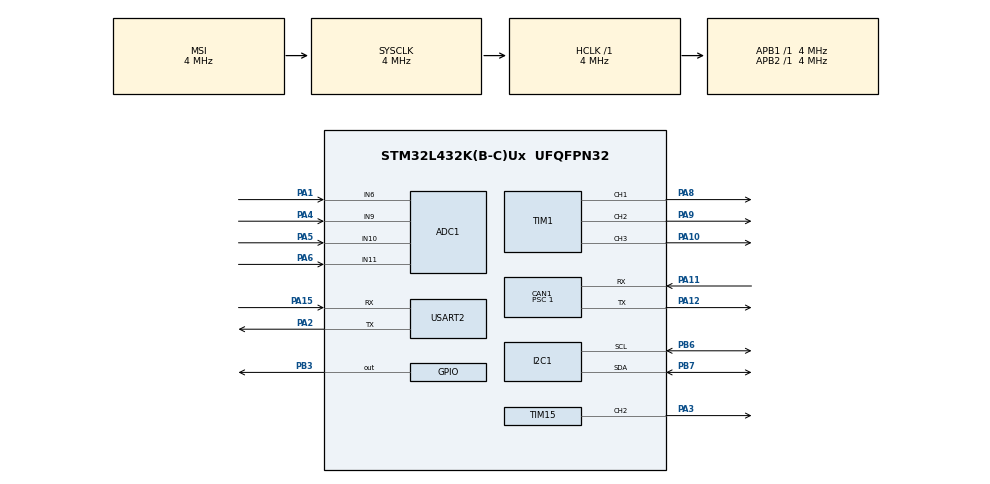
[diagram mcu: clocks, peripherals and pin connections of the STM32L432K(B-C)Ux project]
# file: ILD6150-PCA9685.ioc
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Mcu.Family=STM32L4
VP_SYS_VS_tim6.Mode=TIM6
RCC.CortexFreq_Value=4000000
NVIC.TIM6_DAC_IRQn=true\:0\:0\:false\:false\:true\:false\:false\:true
Dma.USART2_TX.1.MemInc=DMA_MINC_ENABLE
USART2.Parity=PARITY_NONE
PA11.Mode=CAN_Activate
PA15\ (JTDI).Signal=USART2_RX
PC15-OSC32_OUT\ (PC15).Mode=LSE-External-Oscillator
ProjectManager.StackSize=0x400
PB3\ (JTDO-TRACESWO).Signal=GPIO_Output
VP_FREERTOS_VS_CMSIS_V2.Mode=CMSIS_V2
PC14-OSC32_IN\ (PC14).Mode=LSE-External-Oscillator
SH.S_TIM15_CH2.0=TIM15_CH2,PWM Generation2 CH2
PA15\ (JTDI).Mode=Asynchronous
PA12.Signal=CAN1_TX
Dma.USART2_RX.0.Priority=DMA_PRIORITY_LOW
NVIC.CAN1_TX_IRQn=true\:5\:0\:false\:false\:true\:true\:true\:true
Dma.USART2_RX.0.PeriphDataAlignment=DMA_PDATAALIGN_BYTE
RCC.HCLKFreq_Value=4000000
RCC.APB2TimFreq_Value=4000000
PB6.Signal=I2C1_SCL
Dma.USART2_TX.1.Mode=DMA_NORMAL
PB6.Mode=I2C
RCC.AHBFreq_Value=4000000
ADC1.Channel-0\#ChannelRegularConversion=ADC_CHANNEL_6
RCC.HSE_VALUE=16000000
USART2.VirtualMode-Asynchronous=VM_ASYNC
Dma.USART2_RX.0.MemDataAlignment=DMA_MDATAALIGN_BYTE
TIM1.Channel-PWM\ Generation1\ CH1=TIM_CHANNEL_1
TIM15.Channel-PWM\ Generation2\ CH2=TIM_CHANNEL_2
Dma.USART2_TX.1.Instance=DMA1_Channel7
FREERTOS.HEAP_NUMBER=2
PA0.Mode=HSE-External-Clock-Source-for-LittleOrca
Dma.USART2_RX.0.Instance=DMA1_Channel6
PB7.Signal=I2C1_SDA
PA8.Signal=S_TIM1_CH1
ADC1.SamplingTime-0\#ChannelRegularConversion=ADC_SAMPLETIME_2CYCLES_5
FREERTOS.configTOTAL_HEAP_SIZE=30000
PA0.Signal=RCC_CK_IN
CAN1.Prescaler=1
Mcu.Package=UFQFPN32
PA6.Signal=ADCx_IN11
NVIC.TimeBase=TIM6_DAC_IRQn
Dma.USART2_RX.0.PeriphInc=DMA_PINC_DISABLE
NVIC.TimeBaseIP=TIM6
PA10.Signal=S_TIM1_CH3
SH.ADCx_IN9.0=ADC1_IN9,IN9-Single-Ended
USART2.WordLength=WORDLENGTH_8B
Dma.Request1=USART2_TX
RCC.APB1TimFreq_Value=4000000
FREERTOS.configMAX_TASK_NAME_LEN=16
Dma.Request0=USART2_RX
CAN1.CalculateTimeBit=2000.00
USART2.AutoBaudRateEnableParam=UART_ADVFEATURE_AUTOBAUDRATE_DISABLE
RCC.HSI48_VALUE=48000000
PA3.Signal=S_TIM15_CH2
CAN1.CalculateTimeQuantum=250.0
RCC.MSI_VALUE=4000000
NVIC.DMA1_Channel6_IRQn=true\:5\:0\:false\:false\:true\:true\:false\:true
Dma.USART2_TX.1.Priority=DMA_PRIORITY_LOW
FREERTOS.Tasks01=defaultTask,24,128,StartDefaultTask,Default,NULL,Dynamic,NULL,NULL;readTempTask,8,128,StartReadTempTask,Default,NULL,Dynamic,NULL,NULL;readLightTask,8,128,StartReadLightTask,Default,NULL,Dynamic,NULL,NULL
ADC1.Rank-0\#ChannelRegularConversion=1
SH.ADCx_IN6.0=ADC1_IN6,IN6-Single-Ended
ADC1.OffsetNumber-0\#ChannelRegularConversion=ADC_OFFSET_NONE
CAN1.CalculateBaudRate=500000
Dma.USART2_RX.0.Direction=DMA_PERIPH_TO_MEMORY
PC15-OSC32_OUT\ (PC15).Signal=RCC_OSC32_OUT
Dma.USART2_TX.1.PeriphDataAlignment=DMA_PDATAALIGN_BYTE
Dma.USART2_RX.0.Mode=DMA_NORMAL
SH.S_TIM1_CH1.0=TIM1_CH1,PWM Generation1 CH1
CAN1.BS1=CAN_BS1_6TQ
ProjectManager.TargetToolchain=STM32CubeIDE
PA9.Signal=S_TIM1_CH2
TIM1.Channel-PWM\ Generation2\ CH2=TIM_CHANNEL_2
RCC.USBFreq_Value=16000000
PA1.Signal=ADCx_IN6
PA5.Signal=ADCx_IN10
Dma.USART2_TX.1.PeriphInc=DMA_PINC_DISABLE
board=custom
RCC.VCOOutputFreq_Value=160000000
Dma.USART2_TX.1.Direction=DMA_MEMORY_TO_PERIPH
RCC.APB2Freq_Value=4000000
USART2.StopBits=STOPBITS_1
SH.ADCx_IN11.0=ADC1_IN11,IN11-Single-Ended
SH.S_TIM1_CH2.0=TIM1_CH2,PWM Generation2 CH2
RCC.ADCFreq_Value=16000000
Mcu.Name=STM32L432K(B-C)Ux
Dma.USART2_RX.0.MemInc=DMA_MINC_ENABLE
PA2.Signal=USART2_TX
CAN1.SJW=CAN_SJW_1TQ
PA4.Signal=ADCx_IN9
RCC.SYSCLKFreq_VALUE=4000000
ADC1.master=1
PA12.Mode=CAN_Activate
PC14-OSC32_IN\ (PC14).Signal=RCC_OSC32_IN
PB7.Mode=I2C
PA11.Signal=CAN1_RX
SH.ADCx_IN10.0=ADC1_IN10,IN10-Single-Ended
ProjectManager.HeapSize=0x200
SH.S_TIM1_CH3.0=TIM1_CH3,PWM Generation3 CH3
RCC.HSI_VALUE=16000000
NVIC.PriorityGroup=NVIC_PRIORITYGROUP_4
ADC1.NbrOfConversionFlag=1
RCC.PLLN=40
PA2.Mode=Asynchronous
RCC.USART2CLockSelection=RCC_USART2CLKSOURCE_SYSCLK
NVIC.DMA1_Channel7_IRQn=true\:5\:0\:false\:false\:true\:true\:false\:true
Dma.USART2_TX.1.MemDataAlignment=DMA_MDATAALIGN_BYTE
TIM1.Channel-PWM\ Generation3\ CH3=TIM_CHANNEL_3
RCC.APB1Freq_Value=4000000
NVIC.CAN1_RX0_IRQn=true\:5\:0\:false\:false\:true\:true\:true\:true

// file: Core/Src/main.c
/* USER CODE BEGIN Header */
/**
  ******************************************************************************
  * @file           : main.c
  * @brief          : Main program body
  ******************************************************************************
  * @attention
  *
  * <h2><center>&copy; Copyright (c) 2021 STMicroelectronics.
  * All rights reserved.</center></h2>
  *
  * This software component is licensed by ST under BSD 3-Clause license,
  * the "License"; You may not use this file except in compliance with the
  * License. You may obtain a copy of the License at:
  *                        opensource.org/licenses/BSD-3-Clause
  *
  ******************************************************************************
  */
/* USER CODE END Header */
#include "main.h"
#include "cmsis_os.h"

/* USER CODE BEGIN PTD */

//typedef struct
//{
//  volatile uint8_t ID_channel;
//  volatile uint16_t Temp_C[20];
//  volatile uint16_t X[20];
//  volatile uint16_t Y[20];
//  volatile uint16_t Z[20];
//  volatile uint16_t Power[20];
//} LUT_TabTypeDef;

typedef struct  {
    uint16_t temp[100];
    union {
        struct {
            uint8_t id;
            float x[100];
            float y[100];
            float z[100];
            float power[100];
        }channel;
    }item;
}LUT_TabTypeDef;

typedef enum _themotype {
  MCP9600_TYPE_K,
  MCP9600_TYPE_J,
  MCP9600_TYPE_T,
  MCP9600_TYPE_N,
  MCP9600_TYPE_S,
  MCP9600_TYPE_E,
  MCP9600_TYPE_B,
  MCP9600_TYPE_R,
} MCP9600_ThemocoupleType;

typedef enum _resolution {
  MCP9600_ADCRESOLUTION_18,
  MCP9600_ADCRESOLUTION_16,
  MCP9600_ADCRESOLUTION_14,
  MCP9600_ADCRESOLUTION_12,
} MCP9600_ADCResolution;
/* USER CODE END PTD */

ADC_HandleTypeDef hadc1;

CAN_HandleTypeDef hcan1;

I2C_HandleTypeDef hi2c1;

TIM_HandleTypeDef htim1;
TIM_HandleTypeDef htim15;

UART_HandleTypeDef huart2;
DMA_HandleTypeDef hdma_usart2_rx;
DMA_HandleTypeDef hdma_usart2_tx;

/* Definitions for defaultTask */
osThreadId_t defaultTaskHandle;
const osThreadAttr_t defaultTask_attributes = {
  .name = "defaultTask",
  .stack_size = 128 * 4,
  .priority = (osPriority_t) osPriorityNormal,
};
/* Definitions for readTempTask */
osThreadId_t readTempTaskHandle;
const osThreadAttr_t readTempTask_attributes = {
  .name = "readTempTask",
  .stack_size = 128 * 4,
  .priority = (osPriority_t) osPriorityLow,
};
/* Definitions for readLightTask */
osThreadId_t readLightTaskHandle;
const osThreadAttr_t readLightTask_attributes = {
  .name = "readLightTask",
  .stack_size = 128 * 4,
  .priority = (osPriority_t) osPriorityLow,
};
/* USER CODE BEGIN PV */
osThreadId_t comUsartTaskHandle;
const osThreadAttr_t comUsartTask_attributes = {
  .name = "comUsartTask",
  .priority = (osPriority_t) osPriorityNormal,
  .stack_size = 128 * 254
};

uint16_t sharedvar=16;
uint16_t sharedchannel=0x9395;
uint16_t shareddelay = 5;

CAN_FilterTypeDef sFilterConfig;
CAN_TxHeaderTypeDef TxHeader;
CAN_RxHeaderTypeDef RxHeader;
uint8_t TxData[8]={1,2,3,4,5,6,7,8};
uint8_t RxData[8];
uint32_t TxMailbox;
char msg[50];

/* USER CODE END PV */

void SystemClock_Config(void);
static void MX_GPIO_Init(void);
static void MX_DMA_Init(void);
static void MX_I2C1_Init(void);
static void MX_USART2_UART_Init(void);
static void MX_CAN1_Init(void);
static void MX_TIM1_Init(void);
static void MX_ADC1_Init(void);
static void MX_TIM15_Init(void);
void StartDefaultTask(void *argument);
void StartReadTempTask(void *argument);
void StartReadLightTask(void *argument);

/* USER CODE BEGIN PFP */
void ComUsartTask(void *argument);

uint8_t PCA9685_read(I2C_HandleTypeDef *hi2c, uint8_t address, unsigned char reg);
void pca9685_init(I2C_HandleTypeDef *hi2c, uint8_t address);
void pca9685_pwm(I2C_HandleTypeDef *hi2c, uint8_t address, uint8_t num, uint16_t on, uint16_t off);
void pca9685_mult_pwm(I2C_HandleTypeDef *hi2c, uint8_t address, uint16_t num, uint16_t on, uint16_t off);
HAL_StatusTypeDef pca9685_all_pwm(I2C_HandleTypeDef *hi2c, uint8_t address, uint16_t on, uint16_t off);
void all_led_off(I2C_HandleTypeDef *hi2c, uint8_t address);

void scenario1();
void scenario2();
void scenario3();
void scenario4();
void scenario5();
void Receive_CAN_Message_Polling(CAN_RxHeaderTypeDef RxMessage_, uint8_t *RxData_);
/* USER CODE END PFP */

int main(void)
{

  /* MCU Configuration--------------------------------------------------------*/

  /* Reset of all peripherals, Initializes the Flash interface and the Systick. */
  HAL_Init();

  /* Configure the system clock */
  SystemClock_Config();

  /* Initialize all configured peripherals */
  MX_GPIO_Init();
  MX_DMA_Init();
  MX_I2C1_Init();
  MX_USART2_UART_Init();
  MX_CAN1_Init();
  MX_TIM1_Init();
  MX_ADC1_Init();
  MX_TIM15_Init();
  /* USER CODE BEGIN 2 */

  sFilterConfig.FilterBank = 0;
  sFilterConfig.FilterMode = CAN_FILTERMODE_IDMASK;
  sFilterConfig.FilterScale = CAN_FILTERSCALE_32BIT;
  sFilterConfig.FilterIdHigh = 0x245<<5;
  sFilterConfig.FilterIdLow = 0x0000;
  sFilterConfig.FilterMaskIdHigh = 0x0000;
  sFilterConfig.FilterMaskIdLow = 0x0000;
  sFilterConfig.FilterFIFOAssignment = CAN_RX_FIFO0;
  sFilterConfig.FilterActivation = ENABLE;
  sFilterConfig.SlaveStartFilterBank = 14;

  if (HAL_CAN_ConfigFilter(&hcan1, &sFilterConfig) != HAL_OK)
  {
	  Error_Handler();
  }

  if (HAL_CAN_Start(&hcan1) != HAL_OK)
  {
	  /* Start Error */
	  Error_Handler();
  }

  if (HAL_CAN_ActivateNotification(&hcan1, CAN_IT_RX_FIFO0_OVERRUN) != HAL_OK)
  {

	  Error_Handler();
  }
  if (HAL_CAN_ActivateNotification(&hcan1, CAN_IT_TX_MAILBOX_EMPTY) != HAL_OK)
  {
	  /* Notification Error */
	  Error_Handler();
  }
  TxHeader.StdId = 0x07; //07
  //TxHeader.ExtId = 0x01; //delete
  TxHeader.RTR = CAN_RTR_DATA;
  TxHeader.IDE = CAN_ID_STD;
  TxHeader.DLC = 8;
  TxHeader.TransmitGlobalTime = DISABLE;

  /* USER CODE END 2 */

  /* Init scheduler */
  osKernelInitialize();

  /* Create the thread(s) */
  /* creation of defaultTask */
  defaultTaskHandle = osThreadNew(StartDefaultTask, NULL, &defaultTask_attributes);

  /* creation of readTempTask */
  readTempTaskHandle = osThreadNew(StartReadTempTask, NULL, &readTempTask_attributes);

  /* creation of readLightTask */
  readLightTaskHandle = osThreadNew(StartReadLightTask, NULL, &readLightTask_attributes);

  /* USER CODE BEGIN RTOS_THREADS */
  /* add threads, ... */
  comUsartTaskHandle = osThreadNew(ComUsartTask, NULL, &comUsartTask_attributes);
  /* USER CODE END RTOS_THREADS */

  /* Start scheduler */
  osKernelStart();

  /* We should never get here as control is now taken by the scheduler */
  /* Infinite loop */
  while (1)
  {

  }
}

void SystemClock_Config(void)
{
  RCC_OscInitTypeDef RCC_OscInitStruct = {0};
  RCC_ClkInitTypeDef RCC_ClkInitStruct = {0};
  RCC_PeriphCLKInitTypeDef PeriphClkInit = {0};

  /** Configure LSE Drive Capability
  */
  HAL_PWR_EnableBkUpAccess();
  __HAL_RCC_LSEDRIVE_CONFIG(RCC_LSEDRIVE_LOW);
  /** Initializes the RCC Oscillators according to the specified parameters
  * in the RCC_OscInitTypeDef structure.
  */
  RCC_OscInitStruct.OscillatorType = RCC_OSCILLATORTYPE_LSE|RCC_OSCILLATORTYPE_MSI;
  RCC_OscInitStruct.LSEState = RCC_LSE_ON;
  RCC_OscInitStruct.MSIState = RCC_MSI_ON;
  RCC_OscInitStruct.MSICalibrationValue = 0;
  RCC_OscInitStruct.MSIClockRange = RCC_MSIRANGE_6;
  RCC_OscInitStruct.PLL.PLLState = RCC_PLL_NONE;
  if (HAL_RCC_OscConfig(&RCC_OscInitStruct) != HAL_OK)
  {
    Error_Handler();
  }
  /** Initializes the CPU, AHB and APB buses clocks
  */
  RCC_ClkInitStruct.ClockType = RCC_CLOCKTYPE_HCLK|RCC_CLOCKTYPE_SYSCLK
                              |RCC_CLOCKTYPE_PCLK1|RCC_CLOCKTYPE_PCLK2;
  RCC_ClkInitStruct.SYSCLKSource = RCC_SYSCLKSOURCE_MSI;
  RCC_ClkInitStruct.AHBCLKDivider = RCC_SYSCLK_DIV1;
  RCC_ClkInitStruct.APB1CLKDivider = RCC_HCLK_DIV1;
  RCC_ClkInitStruct.APB2CLKDivider = RCC_HCLK_DIV1;

  if (HAL_RCC_ClockConfig(&RCC_ClkInitStruct, FLASH_LATENCY_0) != HAL_OK)
  {
    Error_Handler();
  }
  PeriphClkInit.PeriphClockSelection = RCC_PERIPHCLK_USART2|RCC_PERIPHCLK_I2C1
                              |RCC_PERIPHCLK_ADC;
  PeriphClkInit.Usart2ClockSelection = RCC_USART2CLKSOURCE_SYSCLK;
  PeriphClkInit.I2c1ClockSelection = RCC_I2C1CLKSOURCE_PCLK1;
  PeriphClkInit.AdcClockSelection = RCC_ADCCLKSOURCE_PLLSAI1;
  PeriphClkInit.PLLSAI1.PLLSAI1Source = RCC_PLLSOURCE_MSI;
  PeriphClkInit.PLLSAI1.PLLSAI1M = 1;
  PeriphClkInit.PLLSAI1.PLLSAI1N = 8;
  PeriphClkInit.PLLSAI1.PLLSAI1P = RCC_PLLP_DIV7;
  PeriphClkInit.PLLSAI1.PLLSAI1Q = RCC_PLLQ_DIV2;
  PeriphClkInit.PLLSAI1.PLLSAI1R = RCC_PLLR_DIV2;
  PeriphClkInit.PLLSAI1.PLLSAI1ClockOut = RCC_PLLSAI1_ADC1CLK;
  if (HAL_RCCEx_PeriphCLKConfig(&PeriphClkInit) != HAL_OK)
  {
    Error_Handler();
  }
  /** Configure the main internal regulator output voltage
  */
  if (HAL_PWREx_ControlVoltageScaling(PWR_REGULATOR_VOLTAGE_SCALE1) != HAL_OK)
  {
    Error_Handler();
  }
  /** Enable MSI Auto calibration
  */
  HAL_RCCEx_EnableMSIPLLMode();
}

static void MX_ADC1_Init(void)
{

  ADC_ChannelConfTypeDef sConfig = {0};

  /** Common config
  */
  hadc1.Instance = ADC1;
  hadc1.Init.ClockPrescaler = ADC_CLOCK_ASYNC_DIV1;
  hadc1.Init.Resolution = ADC_RESOLUTION_12B;
  hadc1.Init.DataAlign = ADC_DATAALIGN_RIGHT;
  hadc1.Init.ScanConvMode = ADC_SCAN_DISABLE;
  hadc1.Init.EOCSelection = ADC_EOC_SINGLE_CONV;
  hadc1.Init.LowPowerAutoWait = DISABLE;
  hadc1.Init.ContinuousConvMode = DISABLE;
  hadc1.Init.NbrOfConversion = 1;
  hadc1.Init.DiscontinuousConvMode = DISABLE;
  hadc1.Init.ExternalTrigConv = ADC_SOFTWARE_START;
  hadc1.Init.ExternalTrigConvEdge = ADC_EXTERNALTRIGCONVEDGE_NONE;
  hadc1.Init.DMAContinuousRequests = DISABLE;
  hadc1.Init.Overrun = ADC_OVR_DATA_PRESERVED;
  hadc1.Init.OversamplingMode = DISABLE;
  if (HAL_ADC_Init(&hadc1) != HAL_OK)
  {
    Error_Handler();
  }
  /** Configure Regular Channel
  */
  sConfig.Channel = ADC_CHANNEL_6;
  sConfig.Rank = ADC_REGULAR_RANK_1;
  sConfig.SamplingTime = ADC_SAMPLETIME_2CYCLES_5;
  sConfig.SingleDiff = ADC_SINGLE_ENDED;
  sConfig.OffsetNumber = ADC_OFFSET_NONE;
  sConfig.Offset = 0;
  if (HAL_ADC_ConfigChannel(&hadc1, &sConfig) != HAL_OK)
  {
    Error_Handler();
  }

}

static void MX_CAN1_Init(void)
{

  hcan1.Instance = CAN1;
  hcan1.Init.Prescaler = 1;
  hcan1.Init.Mode = CAN_MODE_NORMAL;
  hcan1.Init.SyncJumpWidth = CAN_SJW_1TQ;
  hcan1.Init.TimeSeg1 = CAN_BS1_6TQ;
  hcan1.Init.TimeSeg2 = CAN_BS2_1TQ;
  hcan1.Init.TimeTriggeredMode = DISABLE;
  hcan1.Init.AutoBusOff = DISABLE;
  hcan1.Init.AutoWakeUp = DISABLE;
  hcan1.Init.AutoRetransmission = DISABLE;
  hcan1.Init.ReceiveFifoLocked = DISABLE;
  hcan1.Init.TransmitFifoPriority = DISABLE;
  if (HAL_CAN_Init(&hcan1) != HAL_OK)
  {
    Error_Handler();
  }

}

static void MX_I2C1_Init(void)
{

  hi2c1.Instance = I2C1;
  hi2c1.Init.Timing = 0x00000E14;
  hi2c1.Init.OwnAddress1 = 0;
  hi2c1.Init.AddressingMode = I2C_ADDRESSINGMODE_7BIT;
  hi2c1.Init.DualAddressMode = I2C_DUALADDRESS_DISABLE;
  hi2c1.Init.OwnAddress2 = 0;
  hi2c1.Init.OwnAddress2Masks = I2C_OA2_NOMASK;
  hi2c1.Init.GeneralCallMode = I2C_GENERALCALL_DISABLE;
  hi2c1.Init.NoStretchMode = I2C_NOSTRETCH_DISABLE;
  if (HAL_I2C_Init(&hi2c1) != HAL_OK)
  {
    Error_Handler();
  }
  /** Configure Analogue filter
  */
  if (HAL_I2CEx_ConfigAnalogFilter(&hi2c1, I2C_ANALOGFILTER_ENABLE) != HAL_OK)
  {
    Error_Handler();
  }
  /** Configure Digital filter
  */
  if (HAL_I2CEx_ConfigDigitalFilter(&hi2c1, 0) != HAL_OK)
  {
    Error_Handler();
  }

}

static void MX_TIM1_Init(void)
{

  TIM_MasterConfigTypeDef sMasterConfig = {0};
  TIM_OC_InitTypeDef sConfigOC = {0};
  TIM_BreakDeadTimeConfigTypeDef sBreakDeadTimeConfig = {0};

  htim1.Instance = TIM1;
  htim1.Init.Prescaler = 0;
  htim1.Init.CounterMode = TIM_COUNTERMODE_UP;
  htim1.Init.Period = 65535;
  htim1.Init.ClockDivision = TIM_CLOCKDIVISION_DIV1;
  htim1.Init.RepetitionCounter = 0;
  htim1.Init.AutoReloadPreload = TIM_AUTORELOAD_PRELOAD_DISABLE;
  if (HAL_TIM_PWM_Init(&htim1) != HAL_OK)
  {
    Error_Handler();
  }
  sMasterConfig.MasterOutputTrigger = TIM_TRGO_RESET;
  sMasterConfig.MasterOutputTrigger2 = TIM_TRGO2_RESET;
  sMasterConfig.MasterSlaveMode = TIM_MASTERSLAVEMODE_DISABLE;
  if (HAL_TIMEx_MasterConfigSynchronization(&htim1, &sMasterConfig) != HAL_OK)
  {
    Error_Handler();
  }
  sConfigOC.OCMode = TIM_OCMODE_PWM1;
  sConfigOC.Pulse = 0;
  sConfigOC.OCPolarity = TIM_OCPOLARITY_HIGH;
  sConfigOC.OCNPolarity = TIM_OCNPOLARITY_HIGH;
  sConfigOC.OCFastMode = TIM_OCFAST_DISABLE;
  sConfigOC.OCIdleState = TIM_OCIDLESTATE_RESET;
  sConfigOC.OCNIdleState = TIM_OCNIDLESTATE_RESET;
  if (HAL_TIM_PWM_ConfigChannel(&htim1, &sConfigOC, TIM_CHANNEL_1) != HAL_OK)
  {
    Error_Handler();
  }
  if (HAL_TIM_PWM_ConfigChannel(&htim1, &sConfigOC, TIM_CHANNEL_2) != HAL_OK)
  {
    Error_Handler();
  }
  if (HAL_TIM_PWM_ConfigChannel(&htim1, &sConfigOC, TIM_CHANNEL_3) != HAL_OK)
  {
    Error_Handler();
  }
  sBreakDeadTimeConfig.OffStateRunMode = TIM_OSSR_DISABLE;
  sBreakDeadTimeConfig.OffStateIDLEMode = TIM_OSSI_DISABLE;
  sBreakDeadTimeConfig.LockLevel = TIM_LOCKLEVEL_OFF;
  sBreakDeadTimeConfig.DeadTime = 0;
  sBreakDeadTimeConfig.BreakState = TIM_BREAK_DISABLE;
  sBreakDeadTimeConfig.BreakPolarity = TIM_BREAKPOLARITY_HIGH;
  sBreakDeadTimeConfig.BreakFilter = 0;
  sBreakDeadTimeConfig.Break2State = TIM_BREAK2_DISABLE;
  sBreakDeadTimeConfig.Break2Polarity = TIM_BREAK2POLARITY_HIGH;
  sBreakDeadTimeConfig.Break2Filter = 0;
  sBreakDeadTimeConfig.AutomaticOutput = TIM_AUTOMATICOUTPUT_DISABLE;
  if (HAL_TIMEx_ConfigBreakDeadTime(&htim1, &sBreakDeadTimeConfig) != HAL_OK)
  {
    Error_Handler();
  }
  HAL_TIM_MspPostInit(&htim1);

}

static void MX_TIM15_Init(void)
{

  TIM_MasterConfigTypeDef sMasterConfig = {0};
  TIM_OC_InitTypeDef sConfigOC = {0};
  TIM_BreakDeadTimeConfigTypeDef sBreakDeadTimeConfig = {0};

  htim15.Instance = TIM15;
  htim15.Init.Prescaler = 0;
  htim15.Init.CounterMode = TIM_COUNTERMODE_UP;
  htim15.Init.Period = 65535;
  htim15.Init.ClockDivision = TIM_CLOCKDIVISION_DIV1;
  htim15.Init.RepetitionCounter = 0;
  htim15.Init.AutoReloadPreload = TIM_AUTORELOAD_PRELOAD_DISABLE;
  if (HAL_TIM_PWM_Init(&htim15) != HAL_OK)
  {
    Error_Handler();
  }
  sMasterConfig.MasterOutputTrigger = TIM_TRGO_RESET;
  sMasterConfig.MasterSlaveMode = TIM_MASTERSLAVEMODE_DISABLE;
  if (HAL_TIMEx_MasterConfigSynchronization(&htim15, &sMasterConfig) != HAL_OK)
  {
    Error_Handler();
  }
  sConfigOC.OCMode = TIM_OCMODE_PWM1;
  sConfigOC.Pulse = 0;
  sConfigOC.OCPolarity = TIM_OCPOLARITY_HIGH;
  sConfigOC.OCNPolarity = TIM_OCNPOLARITY_HIGH;
  sConfigOC.OCFastMode = TIM_OCFAST_DISABLE;
  sConfigOC.OCIdleState = TIM_OCIDLESTATE_RESET;
  sConfigOC.OCNIdleState = TIM_OCNIDLESTATE_RESET;
  if (HAL_TIM_PWM_ConfigChannel(&htim15, &sConfigOC, TIM_CHANNEL_2) != HAL_OK)
  {
    Error_Handler();
  }
  sBreakDeadTimeConfig.OffStateRunMode = TIM_OSSR_DISABLE;
  sBreakDeadTimeConfig.OffStateIDLEMode = TIM_OSSI_DISABLE;
  sBreakDeadTimeConfig.LockLevel = TIM_LOCKLEVEL_OFF;
  sBreakDeadTimeConfig.DeadTime = 0;
  sBreakDeadTimeConfig.BreakState = TIM_BREAK_DISABLE;
  sBreakDeadTimeConfig.BreakPolarity = TIM_BREAKPOLARITY_HIGH;
  sBreakDeadTimeConfig.AutomaticOutput = TIM_AUTOMATICOUTPUT_DISABLE;
  if (HAL_TIMEx_ConfigBreakDeadTime(&htim15, &sBreakDeadTimeConfig) != HAL_OK)
  {
    Error_Handler();
  }
  HAL_TIM_MspPostInit(&htim15);

}

static void MX_USART2_UART_Init(void)
{

  huart2.Instance = USART2;
  huart2.Init.BaudRate = 115200;
  huart2.Init.WordLength = UART_WORDLENGTH_8B;
  huart2.Init.StopBits = UART_STOPBITS_1;
  huart2.Init.Parity = UART_PARITY_NONE;
  huart2.Init.Mode = UART_MODE_TX_RX;
  huart2.Init.HwFlowCtl = UART_HWCONTROL_NONE;
  huart2.Init.OverSampling = UART_OVERSAMPLING_16;
  huart2.Init.OneBitSampling = UART_ONE_BIT_SAMPLE_DISABLE;
  huart2.AdvancedInit.AdvFeatureInit = UART_ADVFEATURE_NO_INIT;
  if (HAL_UART_Init(&huart2) != HAL_OK)
  {
    Error_Handler();
  }

}

static void MX_DMA_Init(void)
{

  /* DMA controller clock enable */
  __HAL_RCC_DMA1_CLK_ENABLE();

  /* DMA interrupt init */
  /* DMA1_Channel6_IRQn interrupt configuration */
  HAL_NVIC_SetPriority(DMA1_Channel6_IRQn, 5, 0);
  HAL_NVIC_EnableIRQ(DMA1_Channel6_IRQn);
  /* DMA1_Channel7_IRQn interrupt configuration */
  HAL_NVIC_SetPriority(DMA1_Channel7_IRQn, 5, 0);
  HAL_NVIC_EnableIRQ(DMA1_Channel7_IRQn);

}

static void MX_GPIO_Init(void)
{
  GPIO_InitTypeDef GPIO_InitStruct = {0};

  /* GPIO Ports Clock Enable */
  __HAL_RCC_GPIOC_CLK_ENABLE();
  __HAL_RCC_GPIOA_CLK_ENABLE();
  __HAL_RCC_GPIOB_CLK_ENABLE();

  /*Configure GPIO pin Output Level */
  HAL_GPIO_WritePin(GPIOB, GPIO_PIN_3, GPIO_PIN_RESET);

  /*Configure GPIO pin : PB3 */
  GPIO_InitStruct.Pin = GPIO_PIN_3;
  GPIO_InitStruct.Mode = GPIO_MODE_OUTPUT_PP;
  GPIO_InitStruct.Pull = GPIO_NOPULL;
  GPIO_InitStruct.Speed = GPIO_SPEED_FREQ_LOW;
  HAL_GPIO_Init(GPIOB, &GPIO_InitStruct);

}

/* USER CODE BEGIN 4 */
// Returns position of the only set bit in 'n'

uint8_t PCA9685_read(I2C_HandleTypeDef *hi2c, uint8_t address, unsigned char reg)
{
	uint8_t res={0};
	HAL_I2C_Master_Transmit(hi2c, address, 0x00, 1, 1);
	//HAL_I2C_Master_Receive(hi2c,address,res,1,1);
	return res;
}

void pca9685_init(I2C_HandleTypeDef *hi2c, uint8_t address)
{
 #define PCA9685_MODE1 0x00
 uint8_t initStruct[2];
 uint8_t prescale = 0x03; // hardcoded
 HAL_I2C_Master_Transmit(hi2c, address, PCA9685_MODE1, 1, 1);
 uint8_t oldmode = 0x00; // hardcoded
 //uint8_t oldmode = PCA9685_read(hi2c,address,PCA9685_MODE1);
 // HAL_I2C_Master_Receive(hi2c, address, &oldmode, 1, 1);
 uint8_t newmode = ((oldmode & 0x7F) | 0x10);
 initStruct[0] = PCA9685_MODE1;
 initStruct[1] = newmode;
 HAL_I2C_Master_Transmit(hi2c, address, initStruct, 2, 1);
 //initStruct[0] = 0xFE;
 initStruct[1] = prescale;
 HAL_I2C_Master_Transmit(hi2c, address, initStruct, 2, 1);
 //initStruct[0] = PCA9685_MODE1;
 initStruct[1] = oldmode;
 HAL_I2C_Master_Transmit(hi2c, address, initStruct, 2, 1);
 osDelay(5);
 initStruct[1] = (oldmode | 0xA1);
 HAL_I2C_Master_Transmit(hi2c, address, initStruct, 2, 1);
}

void pca9685_pwm(I2C_HandleTypeDef *hi2c, uint8_t address, uint8_t num, uint16_t on, uint16_t off)
{
	uint8_t outputBuffer[] = {0x06 + 4*num, on, (on >> 8), off, (off >> 8)};
	HAL_I2C_Master_Transmit(hi2c, address, outputBuffer, sizeof(outputBuffer), 1);
}

void pca9685_mult_pwm(I2C_HandleTypeDef *hi2c, uint8_t address, uint16_t num, uint16_t on, uint16_t off)
{
	int i, iter;

	for (i=1, iter=1; i<65535; i<<=1, iter++)
	{
		if (num & i)
		{
			uint8_t outputBuffer[] = {0x06 + 4*((iter)-1), on, (on >> 8), off, (off >> 8)};
			HAL_I2C_Master_Transmit(hi2c, address, outputBuffer, sizeof(outputBuffer), 1);
		}
		else
		{
			uint8_t outputBuffer[] = {0x06 + 4*((iter)-1), 0, (0 >> 8), 4096, (4096 >> 8)};
			HAL_I2C_Master_Transmit(hi2c, address, outputBuffer, sizeof(outputBuffer), 1);
		}
	}

	/*
	uint8_t channel = 0;
	if(num & 0b00000001)
	{
		uint8_t outputBuffer[] = {0x06 + 4*((num & 0b00000001)-1), on, (on >> 8), off, (off >> 8)};
		HAL_I2C_Master_Transmit(hi2c, address, outputBuffer, sizeof(outputBuffer), 1);
	}
	if(num & 0b00000010)
	{
		uint8_t outputBuffer[] = {0x06 + 4*((num & 0b00000010)-1), on, (on >> 8), off, (off >> 8)};
		HAL_I2C_Master_Transmit(hi2c, address, outputBuffer, sizeof(outputBuffer), 1);
	}
	*/
}

void all_led_off(I2C_HandleTypeDef *hi2c, uint8_t address){

	 uint8_t ALL_LED_OFF = 0xFC;
	 uint8_t outputBuffer[] = {ALL_LED_OFF, 0, (0 >> 8), 4096, (4096 >> 8)};
	 HAL_I2C_Master_Transmit(hi2c, address, outputBuffer, sizeof(outputBuffer), 1);
}

HAL_StatusTypeDef pca9685_all_pwm(I2C_HandleTypeDef *hi2c, uint8_t address, uint16_t on, uint16_t off)
{
	uint8_t ALL_LED_ON = 0xFA;
	uint8_t outputBuffer[] = {ALL_LED_ON, on, (on >> 8), off, (off >> 8)};
	HAL_StatusTypeDef status = HAL_I2C_Master_Transmit(hi2c, address, outputBuffer, sizeof(outputBuffer), 1);
	return status;
}

void scenario1(){
	 uint8_t I2C_address = 0x80;
	 pca9685_init(&hi2c1, I2C_address);
	 //turn off all LED
	 all_led_off(&hi2c1, I2C_address);

	 /* Infinite loop */
	 for(;;)
	 {
		 for(int i=0; i<4096/sharedvar; i++){
			pca9685_all_pwm(&hi2c1, I2C_address, 0, 4095-(sharedvar*i));
			osDelay(5);
		 }

	 	 for(int i=0; i<4096/sharedvar; i++){
	 		 pca9685_all_pwm(&hi2c1, I2C_address, 0, (sharedvar*i));
	 		 osDelay(5);
	 	 }
	 }
}

void scenario2(){
	 uint8_t I2C_address = 0x80;
	 pca9685_init(&hi2c1, I2C_address);
	 //turn off all LED
	 //all_led_off(&hi2c1, I2C_address);

	 //uint16_t channel = 0b1001001110010101;
	 //uint16_t channel = sharedchannel;

	 /* Infinite loop */
	 for(;;)
	 {
		 for(int i=0; i<4096/sharedvar; i++){
			pca9685_mult_pwm(&hi2c1, I2C_address, sharedchannel, 0, 4095-(sharedvar*i));
			//pca9685_pwm(&hi2c1, I2C_address, 15, 0, 4095-(sharedvar*i));
			osDelay(shareddelay);
		 }

	 	 for(int i=0; i<4096/sharedvar; i++){
	 		pca9685_mult_pwm(&hi2c1, I2C_address, sharedchannel, 0, (sharedvar*i));
	 		//pca9685_pwm(&hi2c1, I2C_address, 15 ,0, 4095-(sharedvar*i));
	 		osDelay(shareddelay);
	 	 }
	 }
}

void scenario3(){
	//uint8_t I2C_address = 0x80;
	//pca9685_init(&hi2c1, I2C_address);

	int n = 10;
	int m = 1;
    uint16_t temp[n*m];
    uint8_t id[n];
    float x[n*m];
    float y[n*m];
    float z[n*m];
    float power[n*m];

	uint8_t size = 1;
	//LUT_TabTypeDef pLUTChannel[size];

	for(;;){
		HAL_GPIO_TogglePin(GPIOB, GPIO_PIN_3);
		osDelay(100);
	}
}

void scenario4(){

	sprintf(msg,"Init\r\n");
	HAL_UART_Transmit(&huart2,(uint8_t*)msg,strlen(msg),HAL_MAX_DELAY);

	//for(;;){
		if(HAL_CAN_AddTxMessage(&hcan1,&TxHeader,TxData,&TxMailbox)!= HAL_OK){
			sprintf(msg,"HAL NOK\r\n");
			HAL_UART_Transmit(&huart2,(uint8_t*)msg,strlen(msg),HAL_MAX_DELAY);
		}

		while(HAL_CAN_IsTxMessagePending(&hcan1,TxMailbox));
		TxData[0]+=1;

		sprintf(msg,"Transmitted\r\n");
		HAL_UART_Transmit(&huart2,(uint8_t*)msg,strlen(msg),HAL_MAX_DELAY);
		osDelay(1000);
	//}

}

void scenario5(){
	char msg[50];
	HAL_StatusTypeDef status = HAL_CAN_ActivateNotification(&hcan1, CAN_IT_RX_FIFO0_OVERRUN);
	for(;;){
		uint8_t messages = HAL_CAN_GetRxFifoFillLevel(&hcan1, CAN_RX_FIFO0);

		if(messages > 0){
			if(HAL_CAN_GetRxMessage(&hcan1, CAN_RX_FIFO0, &RxHeader, RxData) == HAL_OK){

				sprintf(msg,"Received\r\n");
				HAL_UART_Transmit(&huart2,(uint8_t*)msg,strlen(msg),HAL_MAX_DELAY);

			}
			scenario4();
		}

	}
	/*
}
	char msg[] = {'A','B','C'};
	CAN_RxHeaderTypeDef pHeader;
	uint8_t aData[8]={0,0,0,0,0,0,0,0};

	HAL_CAN_ActivateNotification(&hcan1, CAN_IT_RX_FIFO0_FULL);

	for(;;){
		if(HAL_CAN_GetRxMessage(&hcan1,CAN_RX_FIFO0,&pHeader,aData)==HAL_OK){
			uint8_t val[] = {0x01,0x02,0x03,0x04,0x05,0x06,0x07,0x08};
			scenario4(val);
		}
*/
}

// here is the Polling Function
/*
void HAL_CAN_TxMailbox0CompleteCallback(CAN_HandleTypeDef *hcan)
{

}
*/
/*
void HAL_CAN_RxFifo0MsgPendingCallback(CAN_HandleTypeDef *hcan)
{
	char msg[50];
	HAL_CAN_GetRxMessage(&hcan1, CAN_RX_FIFO0, &RxHeader, RxData);

	sprintf(msg,"Received\r\n");
	HAL_UART_Transmit(&huart2, RxData,strlen(RxData),HAL_MAX_DELAY);

}
*/
	/*
	uint8_t TYPE_K = 0b000;
	uint8_t MCP9600_I2CADDR_DEFAULT = 0x67;
	uint8_t MCP9600_STATUS = 0x04;
	uint8_t MCP9600_DEVICEID = 0x20;
	uint8_t MCP9600_HOTJUNCTION = 0x00;
	uint8_t MCP9600_RAWDATAADC = 0x03;

	uint8_t outputBuffer[]={MCP9600_RAWDATAADC};
	uint8_t  inputBuffer[4];

	for(;;){

	HAL_I2C_Master_Transmit(&hi2c1, MCP9600_I2CADDR_DEFAULT, outputBuffer, sizeof(inputBuffer), 1);

	HAL_I2C_Master_Receive(&hi2c1, MCP9600_I2CADDR_DEFAULT, inputBuffer, sizeof(inputBuffer),1);

	osDelay(100);
	}
	*/

void ComUsartTask(void *argument){
	uint8_t rxBuffer[8];
	for(;;)
	{
		while (HAL_UART_Receive_DMA(&huart2, rxBuffer, sizeof(rxBuffer)) != HAL_OK)
		{
			HAL_GPIO_TogglePin(GPIOB, GPIO_PIN_3);
			osDelay(5);
		}
		osDelay(5);
		if(rxBuffer[0]==0x4D){
			HAL_UART_Transmit(&huart2,&rxBuffer[1], 1,500);
			sharedvar = 16;
			sharedchannel = 0x9395;
			shareddelay = 5;
			//sharedvar = (uint16_t) atoi(rxBuffer[5]);
		}
		if(rxBuffer[0]==0x44){
			HAL_UART_Transmit(&huart2,&rxBuffer[1], 1,500);
			sharedvar = 16;
			sharedchannel = 0x0F05;
			shareddelay = 1;
			//sharedvar = (uint16_t) atoi(rxBuffer[5]);
		}
		//HAL_GPIO_TogglePin(GPIOB, GPIO_PIN_3);
		//osDelay(500);
	}
}
/* USER CODE END 4 */

void StartDefaultTask(void *argument)
{
  /* USER CODE BEGIN 5 */
	//scenario1();
	scenario5();
  /* USER CODE END 5 */
}

void StartReadTempTask(void *argument)
{
  for(;;)
  {
    osDelay(1);
  }
}

void StartReadLightTask(void *argument)
{
  /* USER CODE BEGIN StartReadLightTask */
  /* Infinite loop */
  for(;;)
  {
	//scenario2();
    //osDelay(1);
  }
  /* USER CODE END StartReadLightTask */
}

 /**
  * @brief  Period elapsed callback in non blocking mode
  * @note   This function is called  when TIM6 interrupt took place, inside
  * HAL_TIM_IRQHandler(). It makes a direct call to HAL_IncTick() to increment
  * a global variable "uwTick" used as application time base.
  * @param  htim : TIM handle
  * @retval None
  */
void HAL_TIM_PeriodElapsedCallback(TIM_HandleTypeDef *htim)
{
  if (htim->Instance == TIM6) {
    HAL_IncTick();
  }
}

void Error_Handler(void)
{
  /* USER CODE BEGIN Error_Handler_Debug */
  /* User can add his own implementation to report the HAL error return state */
  __disable_irq();
  while (1)
  {
	  sprintf(msg,"Error\r\n");
	  HAL_UART_Transmit(&huart2, (uint8_t*)msg,strlen(msg),HAL_MAX_DELAY);
  }
  /* USER CODE END Error_Handler_Debug */
}

/************************ (C) COPYRIGHT STMicroelectronics *****END OF FILE****/
